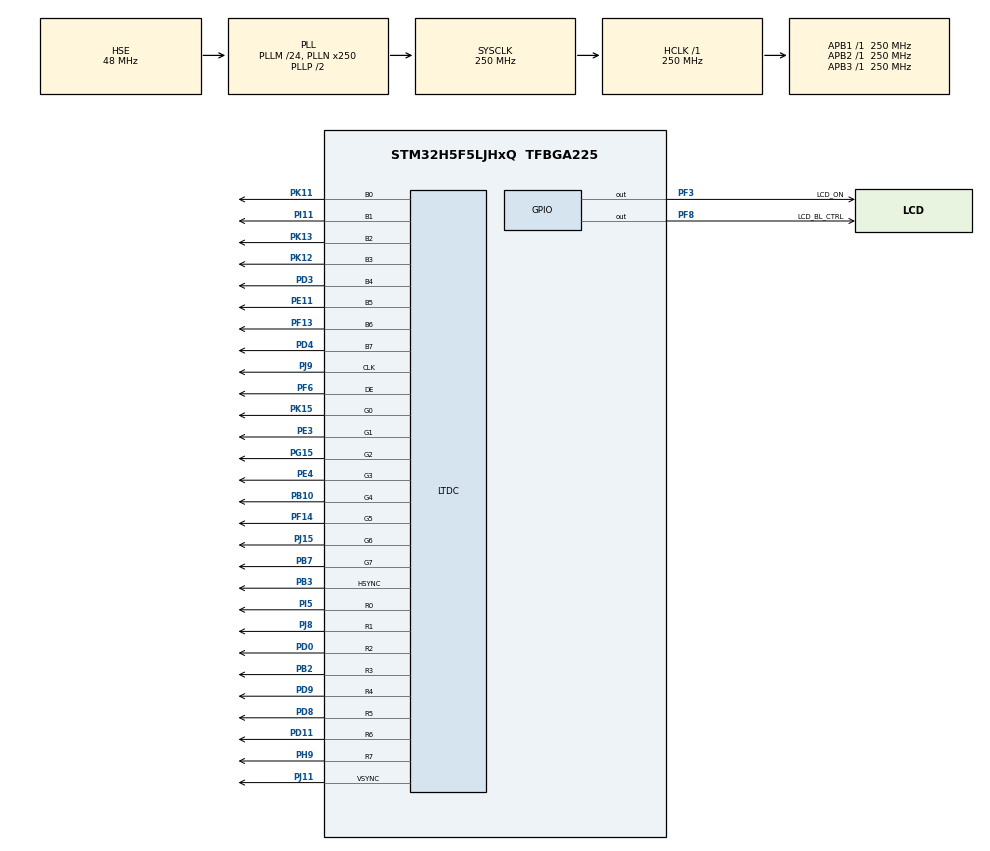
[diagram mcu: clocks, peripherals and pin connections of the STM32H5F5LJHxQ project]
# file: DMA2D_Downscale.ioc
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BOOTPATH.BootPathName=LEGACY
BOOTPATH.UserSelectedBootPath=LEGACY
CORTEX_M33_NS.userName=CORTEX_M33
DMA2D.AlphaModeBackground=DMA2D_REPLACE_ALPHA
DMA2D.AlphaModeForeground=DMA2D_REPLACE_ALPHA
DMA2D.ColorMode=DMA2D_OUTPUT_RGB888
DMA2D.InputAlphaBackground=128
DMA2D.InputAlphaForeground=128
DMA2D.InputColorModeBackground=DMA2D_INPUT_RGB888
DMA2D.InputColorModeForeground=DMA2D_INPUT_RGB888
DMA2D.LineOffsetMode=DMA2D_LOM_PIXELS
DMA2D.Mode=DMA2D_M2M_BLEND
LTDC.ActiveH=ST1633I_VSYNC + ST1633I_HEIGHT + ST1633I_VBP -1U
LTDC.ActiveW=ST1633I_HSYNC + ST1633I_WIDTH + ST1633I_HBP -1U
LTDC.Alpha_L0=255
LTDC.BlendingFactor1_L0=LTDC_BLENDING_FACTOR1_PAxCA
LTDC.BlendingFactor2_L0=LTDC_BLENDING_FACTOR2_PAxCA
LTDC.FBStartAdress_L0=LCD_FRAME_BUFFER
LTDC.HBP=ST1633I_HSYNC + ST1633I_HBP - 1U
LTDC.HFP=ST1633I_HSYNC + ST1633I_WIDTH + ST1633I_HBP + ST1633I_HFP - 1U
LTDC.HSync=ST1633I_HSYNC - 1U
LTDC.ImageHeight_L0=STLogo_height
LTDC.ImageWidth_L0=STLogo_width
LTDC.Layers=0
LTDC.PixelFormat_L0=LTDC_PIXEL_FORMAT_RGB888
LTDC.VBP=ST1633I_VSYNC + ST1633I_VBP - 1U
LTDC.VFP=ST1633I_VSYNC + ST1633I_HEIGHT + ST1633I_VBP + ST1633I_VFP - 1U
LTDC.VSync=ST1633I_VSYNC - 1U
LTDC.WindowX1_L0=ST1633I_WIDTH
LTDC.WindowY1_L0=ST1633I_HEIGHT
Mcu.Family=STM32H5
Mcu.Name=STM32H5F5LJHxQ
Mcu.Package=TFBGA225
Mcu.UserConstants=ST1633I_VBP,7;LCD_FRAME_BUFFER,0x20010000;ST1633I_HBP,43;ST1633I_VSYNC,4;ST1633I_VFP,8;ST1633I_HEIGHT,272;ST1633I_HFP,0;FRAME_BUFFER_SIZE,(STLogo_width*STLogo_height*STLogo_bpp)/32;ST1633I_HSYNC,4;ST1633I_WIDTH,480
NVIC.DMA2D_IRQn=true\:0\:0\:false\:false\:true\:true\:true\:true
NVIC.PriorityGroup=NVIC_PRIORITYGROUP_4
PB10.Mode=RGB888
PB10.Signal=LTDC_G4
PB2.Mode=RGB888
PB2.Signal=LTDC_R3
PB3\ (JTDO/TRACESWO).Mode=RGB888
PB3\ (JTDO/TRACESWO).Signal=LTDC_HSYNC
PB7.Mode=RGB888
PB7.Signal=LTDC_G7
PD0.Mode=RGB888
PD0.Signal=LTDC_R2
PD11.Mode=RGB888
PD11.Signal=LTDC_R6
PD3.Mode=RGB888
PD3.Signal=LTDC_B4
PD4.Mode=RGB888
PD4.Signal=LTDC_B7
PD8.Mode=RGB888
PD8.Signal=LTDC_R5
PD9.Mode=RGB888
PD9.Signal=LTDC_R4
PE11.Mode=RGB888
PE11.Signal=LTDC_B5
PE3.Mode=RGB888
PE3.Signal=LTDC_G1
PE4.Mode=RGB888
PE4.Signal=LTDC_G3
PF13.Mode=RGB888
PF13.Signal=LTDC_B6
PF14.Mode=RGB888
PF14.Signal=LTDC_G5
PF3.GPIO_Label=LCD_ON
PF3.PinState=GPIO_PIN_SET
PF3.Signal=GPIO_Output
PF6.Mode=RGB888
PF6.Signal=LTDC_DE
PF8.GPIO_Label=LCD_BL_CTRL
PF8.PinState=GPIO_PIN_SET
PF8.Signal=GPIO_Output
PG15.Mode=RGB888
PG15.Signal=LTDC_G2
PH0-OSC_IN(PH0).Mode=HSE-External-Oscillator
PH0-OSC_IN(PH0).Signal=RCC_OSC_IN
PH1-OSC_OUT(PH1).Mode=HSE-External-Oscillator
PH1-OSC_OUT(PH1).Signal=RCC_OSC_OUT
PH9.Mode=RGB888
PH9.Signal=LTDC_R7
PI11.Mode=RGB888
PI11.Signal=LTDC_B1
PI5.Mode=RGB888
PI5.Signal=LTDC_R0
PJ11.Mode=RGB888
PJ11.Signal=LTDC_VSYNC
PJ15.Mode=RGB888
PJ15.Signal=LTDC_G6
PJ8.Mode=RGB888
PJ8.Signal=LTDC_R1
PJ9.Mode=RGB888
PJ9.Signal=LTDC_CLK
PK11.Mode=RGB888
PK11.Signal=LTDC_B0
PK12.Mode=RGB888
PK12.Signal=LTDC_B3
PK13.Mode=RGB888
PK13.Signal=LTDC_B2
PK15.Mode=RGB888
PK15.Signal=LTDC_G0
ProjectManager.HeapSize=0x200
ProjectManager.StackSize=0x1000
ProjectManager.TargetToolchain=EWARM V9.20
RCC.ADCFreq_Value=250000000
RCC.AHBFreq_Value=250000000
RCC.APB1Freq_Value=250000000
RCC.APB1TimFreq_Value=250000000
RCC.APB2Freq_Value=250000000
RCC.APB2TimFreq_Value=250000000
RCC.APB3Freq_Value=250000000
RCC.CSI_VALUE=4000000
RCC.CortexFreq_Value=250000000
RCC.EPOD_VALUE=48000000
RCC.HCLKFreq_Value=250000000
RCC.HSE_VALUE=48000000
RCC.HSI48_VALUE=48000000
RCC.HSI_VALUE=64000000
RCC.LSE_VALUE=32768
RCC.LSIRC_VALUE=32000
RCC.PLL2FRACN=0
RCC.PLL2M=40
RCC.PLL2R=16
RCC.PLL2Source=RCC_PLL2_SOURCE_HSE
RCC.PLL3M=4
RCC.PLL3R=16
RCC.PLL3Source=RCC_PLL3_SOURCE_HSE
RCC.PLLFRACN=0
RCC.PLLM=24
RCC.PLLN=250
RCC.PLLSourceVirtual=RCC_PLL1_SOURCE_HSE
RCC.SYSCLKFreq_VALUE=250000000
RCC.SYSCLKSource=RCC_SYSCLKSOURCE_PLLCLK
RCC.USBFreq_Value=774000000
RCC.VCOOutputFreq_Value=500000000
VP_BOOTPATH_VS_BOOTPATH.Mode=BP_Activate
VP_CORTEX_M33_NS_VS_Hclk.Mode=Hclk_Mode
VP_DMA2D_VS_DMA2D.Mode=DMA2D_Activate
VP_ICACHE_VS_ICACHE.Mode=DefaultMode
VP_PWR_VS_LPOM.Mode=PowerOptimisation
VP_PWR_VS_SECSignals.Mode=Security/Privilege
board=custom

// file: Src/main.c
/* USER CODE BEGIN Header */
/**
  ******************************************************************************
  * @file           : main.c
  * @brief          : Main program body
  ******************************************************************************
  * @attention
  *
  * Copyright (c) 2025 STMicroelectronics.
  * All rights reserved.
  *
  * This software is licensed under terms that can be found in the LICENSE file
  * in the root directory of this software component.
  * If no LICENSE file comes with this software, it is provided AS-IS.
  *
  ******************************************************************************
  */
/* USER CODE END Header */
#include "main.h"

DMA2D_HandleTypeDef hdma2d;

LTDC_HandleTypeDef hltdc;

/* USER CODE BEGIN PV */
DMA2D_DownscalingCfgTypeDef Downscalingcfg;
static __IO uint32_t transferCompleteDetected = 0;

static const uint16_t gDownscaleProfiles[][4] =
{
  {1U, 1U, 1U, 1U},     /* Full-size image */
  {3U, 4U, 3U, 4U},     /* 75% width and 75% height */
  {1U, 2U, 1U, 2U},     /* 50% width and 50% height */
  {1U, 4U, 1U, 4U},     /* 25% width and 25% height */
  {1U, 1U, 4U, 5U},     /* Full width with 80% height */
  {3U, 4U, 1U, 1U},     /* 75% width with full height */
  {1U, 1U, 3U, 4U},     /* Full width with 75% height */
  {2U, 3U, 7U, 10U},    /* 66% width with 70% height */
  {13U, 17U, 13U, 17U}, /* Approximately 76% width and height */
  {13U, 17U, 5U, 8U},   /* Approximately 76% width with 62% height */
};

/* USER CODE END PV */

void SystemClock_Config(void);
static void MX_GPIO_Init(void);
static void MX_DMA2D_Init(void);
static void MX_ICACHE_Init(void);
static void MX_LTDC_Init(void);
/* USER CODE BEGIN PFP */
void TransferComplete(DMA2D_HandleTypeDef* dma2dHandle);
void PerformScaling(DMA2D_DownscalingCfgTypeDef *cfg);
/* USER CODE END PFP */

int main(void)
{

  /* MCU Configuration--------------------------------------------------------*/

  /* Reset of all peripherals, Initializes the Flash interface and the Systick. */
  HAL_Init();

  /* Configure the system clock */
  SystemClock_Config();

  /* USER CODE BEGIN SysInit */
  BSP_LED_Init(LED_RED);
  /* USER CODE END SysInit */

  /* Initialize all configured peripherals */
  MX_GPIO_Init();
  MX_DMA2D_Init();
  MX_ICACHE_Init();
  MX_LTDC_Init();
  /* USER CODE BEGIN 2 */

  /* DMA2D Callbacks Configuration*/
  hdma2d.XferCpltCallback  = TransferComplete;

  Downscalingcfg.PixelPerLines = 480;
  Downscalingcfg.NumberOfLines = 272;
  Downscalingcfg.HRatio        = 1;
  Downscalingcfg.VRatio        = 1;
  Downscalingcfg.HRatioDiv     = 1;
  Downscalingcfg.VRatioDiv     = 1;
  Downscalingcfg.VPhase        = 0;
  Downscalingcfg.HPhase        = 0;

  /* USER CODE END 2 */

  /* Infinite loop */
  while (1)
  {

    /* USER CODE BEGIN 3 */
    uint32_t i;

    /* Both horizontal and vertical scaling together */
    for (i = 0; i < (sizeof(gDownscaleProfiles) / sizeof(gDownscaleProfiles[0])); i++)
    {
      Downscalingcfg.HRatio = gDownscaleProfiles[i][0];
      Downscalingcfg.HRatioDiv = gDownscaleProfiles[i][1];
      Downscalingcfg.VRatio = gDownscaleProfiles[i][2];
      Downscalingcfg.VRatioDiv = gDownscaleProfiles[i][3];

      PerformScaling(&Downscalingcfg);
    }

    HAL_Delay(1000);
  }
  /* USER CODE END 3 */
}

void SystemClock_Config(void)
{
  RCC_OscInitTypeDef RCC_OscInitStruct = {0};
  RCC_ClkInitTypeDef RCC_ClkInitStruct = {0};

  /** Configure the main internal regulator output voltage
  */
  __HAL_PWR_VOLTAGESCALING_CONFIG(PWR_REGULATOR_VOLTAGE_SCALE0);

  while(!__HAL_PWR_GET_FLAG(PWR_FLAG_VOSRDY)) {}

  /** Initializes the RCC Oscillators according to the specified parameters
  * in the RCC_OscInitTypeDef structure.
  */
  RCC_OscInitStruct.OscillatorType = RCC_OSCILLATORTYPE_HSE;
  RCC_OscInitStruct.HSEState = RCC_HSE_ON;
  RCC_OscInitStruct.PLL.PLLState = RCC_PLL_ON;
  RCC_OscInitStruct.PLL.PLLSource = RCC_PLL1_SOURCE_HSE;
  RCC_OscInitStruct.PLL.PLLM = 24;
  RCC_OscInitStruct.PLL.PLLN = 250;
  RCC_OscInitStruct.PLL.PLLP = 2;
  RCC_OscInitStruct.PLL.PLLQ = 2;
  RCC_OscInitStruct.PLL.PLLR = 2;
  RCC_OscInitStruct.PLL.PLLRGE = RCC_PLL1_VCIRANGE_1;
  RCC_OscInitStruct.PLL.PLLVCOSEL = RCC_PLL1_VCORANGE_WIDE;
  RCC_OscInitStruct.PLL.PLLFRACN = 0;
  if (HAL_RCC_OscConfig(&RCC_OscInitStruct) != HAL_OK)
  {
    Error_Handler();
  }

  /** Initializes the CPU, AHB and APB buses clocks
  */
  RCC_ClkInitStruct.ClockType = RCC_CLOCKTYPE_HCLK|RCC_CLOCKTYPE_SYSCLK
                              |RCC_CLOCKTYPE_PCLK1|RCC_CLOCKTYPE_PCLK2
                              |RCC_CLOCKTYPE_PCLK3;
  RCC_ClkInitStruct.SYSCLKSource = RCC_SYSCLKSOURCE_PLLCLK;
  RCC_ClkInitStruct.AHBCLKDivider = RCC_SYSCLK_DIV1;
  RCC_ClkInitStruct.APB1CLKDivider = RCC_HCLK_DIV1;
  RCC_ClkInitStruct.APB2CLKDivider = RCC_HCLK_DIV1;
  RCC_ClkInitStruct.APB3CLKDivider = RCC_HCLK_DIV1;

  if (HAL_RCC_ClockConfig(&RCC_ClkInitStruct, FLASH_LATENCY_5) != HAL_OK)
  {
    Error_Handler();
  }

  /** Configure the programming delay
  */
  __HAL_FLASH_SET_PROGRAM_DELAY(FLASH_PROGRAMMING_DELAY_2);
}

static void MX_DMA2D_Init(void)
{

  hdma2d.Instance = DMA2D;
  hdma2d.Init.Mode = DMA2D_M2M_BLEND;
  hdma2d.Init.ColorMode = DMA2D_OUTPUT_RGB888;
  hdma2d.Init.OutputOffset = 0;
  hdma2d.Init.BytesSwap = DMA2D_BYTES_REGULAR;
  hdma2d.Init.LineOffsetMode = DMA2D_LOM_PIXELS;
  hdma2d.LayerCfg[1].InputOffset = 0;
  hdma2d.LayerCfg[1].InputColorMode = DMA2D_INPUT_RGB888;
  hdma2d.LayerCfg[1].AlphaMode = DMA2D_REPLACE_ALPHA;
  hdma2d.LayerCfg[1].InputAlpha = 128;
  hdma2d.LayerCfg[1].AlphaInverted = DMA2D_REGULAR_ALPHA;
  hdma2d.LayerCfg[1].RedBlueSwap = DMA2D_RB_REGULAR;
  hdma2d.LayerCfg[1].ChromaSubSampling = DMA2D_NO_CSS;
  hdma2d.LayerCfg[0].InputOffset = 0;
  hdma2d.LayerCfg[0].InputColorMode = DMA2D_INPUT_RGB888;
  hdma2d.LayerCfg[0].AlphaMode = DMA2D_REPLACE_ALPHA;
  hdma2d.LayerCfg[0].InputAlpha = 128;
  hdma2d.LayerCfg[0].AlphaInverted = DMA2D_REGULAR_ALPHA;
  hdma2d.LayerCfg[0].RedBlueSwap = DMA2D_RB_REGULAR;
  if (HAL_DMA2D_Init(&hdma2d) != HAL_OK)
  {
    Error_Handler();
  }
  if (HAL_DMA2D_ConfigLayer(&hdma2d, 0) != HAL_OK)
  {
    Error_Handler();
  }
  if (HAL_DMA2D_ConfigLayer(&hdma2d, 1) != HAL_OK)
  {
    Error_Handler();
  }

}

static void MX_ICACHE_Init(void)
{

  /** Enable instruction cache (default 2-ways set associative cache)
  */
  if (HAL_ICACHE_Enable() != HAL_OK)
  {
    Error_Handler();
  }

}

static void MX_LTDC_Init(void)
{

  LTDC_LayerCfgTypeDef pLayerCfg = {0};

  hltdc.Instance = LTDC;
  hltdc.Init.HSPolarity = LTDC_HSPOLARITY_AL;
  hltdc.Init.VSPolarity = LTDC_VSPOLARITY_AL;
  hltdc.Init.DEPolarity = LTDC_DEPOLARITY_AL;
  hltdc.Init.PCPolarity = LTDC_PCPOLARITY_IPC;
  hltdc.Init.HorizontalSync = ST1633I_HSYNC - 1U;
  hltdc.Init.VerticalSync = ST1633I_VSYNC - 1U;
  hltdc.Init.AccumulatedHBP = ST1633I_HSYNC + ST1633I_HBP - 1U;
  hltdc.Init.AccumulatedVBP = ST1633I_VSYNC + ST1633I_VBP - 1U;
  hltdc.Init.AccumulatedActiveW = ST1633I_HSYNC + ST1633I_WIDTH + ST1633I_HBP -1U;
  hltdc.Init.AccumulatedActiveH = ST1633I_VSYNC + ST1633I_HEIGHT + ST1633I_VBP -1U;
  hltdc.Init.TotalWidth = ST1633I_HSYNC + ST1633I_WIDTH + ST1633I_HBP + ST1633I_HFP - 1U;
  hltdc.Init.TotalHeigh = ST1633I_VSYNC + ST1633I_HEIGHT + ST1633I_VBP + ST1633I_VFP - 1U;
  hltdc.Init.Backcolor.Blue = 0;
  hltdc.Init.Backcolor.Green = 0;
  hltdc.Init.Backcolor.Red = 0;
  if (HAL_LTDC_Init(&hltdc) != HAL_OK)
  {
    Error_Handler();
  }
  pLayerCfg.WindowX0 = 0;
  pLayerCfg.WindowX1 = ST1633I_WIDTH;
  pLayerCfg.WindowY0 = 0;
  pLayerCfg.WindowY1 = ST1633I_HEIGHT;
  pLayerCfg.PixelFormat = LTDC_PIXEL_FORMAT_RGB888;
  pLayerCfg.Alpha = 255;
  pLayerCfg.Alpha0 = 0;
  pLayerCfg.BlendingFactor1 = LTDC_BLENDING_FACTOR1_PAxCA;
  pLayerCfg.BlendingFactor2 = LTDC_BLENDING_FACTOR2_PAxCA;
  pLayerCfg.FBStartAdress = LCD_FRAME_BUFFER;
  pLayerCfg.ImageWidth = STLogo_width;
  pLayerCfg.ImageHeight = STLogo_height;
  pLayerCfg.Backcolor.Blue = 0;
  pLayerCfg.Backcolor.Green = 0;
  pLayerCfg.Backcolor.Red = 0;
  if (HAL_LTDC_ConfigLayer(&hltdc, &pLayerCfg, 0) != HAL_OK)
  {
    Error_Handler();
  }

}

static void MX_GPIO_Init(void)
{
  GPIO_InitTypeDef GPIO_InitStruct = {0};

  /* GPIO Ports Clock Enable */
  __HAL_RCC_GPIOF_CLK_ENABLE();
  __HAL_RCC_GPIOH_CLK_ENABLE();

  /*Configure GPIO pin Output Level */
  HAL_GPIO_WritePin(GPIOF, LCD_BL_CTRL_Pin|LCD_ON_Pin, GPIO_PIN_SET);

  /*Configure GPIO pins : LCD_BL_CTRL_Pin LCD_ON_Pin */
  GPIO_InitStruct.Pin = LCD_BL_CTRL_Pin|LCD_ON_Pin;
  GPIO_InitStruct.Mode = GPIO_MODE_OUTPUT_PP;
  GPIO_InitStruct.Pull = GPIO_NOPULL;
  GPIO_InitStruct.Speed = GPIO_SPEED_FREQ_LOW;
  HAL_GPIO_Init(GPIOF, &GPIO_InitStruct);

}

/* USER CODE BEGIN 4 */
/**
  * @brief  DMA2D Transfer completed callback
  * @param  hdma2d: DMA2D handle.
  * @note   This example shows a simple way to report end of DMA2D transfer, and
  *         you can add your own implementation.
  * @retval None
  */
void TransferComplete(DMA2D_HandleTypeDef *hdma2d)
{
  __HAL_LTDC_ENABLE(&hltdc);
  transferCompleteDetected = 1;
}

void PerformScaling(DMA2D_DownscalingCfgTypeDef *cfg)
{
  uint32_t xpos, ypos;
  uint32_t scaledWidth;
  uint32_t scaledHeight;

  /* Ceiling division keeps display dimensions aligned with generated output. */
  scaledWidth = ((STLogo_width * cfg->HRatio) + cfg->HRatioDiv - 1U) / cfg->HRatioDiv;
  scaledHeight = ((STLogo_height * cfg->VRatio) + cfg->VRatioDiv - 1U) / cfg->VRatioDiv;

  /* DMA2D downscale is configured as a ratio: output = input * Ratio / RatioDiv. */
  HAL_DMA2D_ConfigDownscaling(&hdma2d, DMA2D_SOURCE_BLENDER_OUTPUT, cfg);

  xpos = (STLogo_width - scaledWidth) / 2;
  ypos = (STLogo_height - scaledHeight) / 2;

  /* Adjust the LTDC window to the final scaled image size and center it on screen. */
  HAL_LTDC_SetWindowSize(&hltdc, scaledWidth, scaledHeight, LTDC_LAYER_1);
  HAL_LTDC_SetWindowPosition(&hltdc, xpos, ypos, LTDC_LAYER_1);

  transferCompleteDetected = 0;
  if (HAL_DMA2D_BlendingStart_IT(&hdma2d, (uint32_t)STLogo, (uint32_t)LifeAugmented,
                                 LCD_FRAME_BUFFER, STLogo_width, STLogo_height) != HAL_OK)
  {
    Error_Handler();
  }

  while (transferCompleteDetected == 0)
  {
    /* wait for DMA2D transfer to complete */
  }

  HAL_Delay(1000);

  __HAL_LTDC_DISABLE(&hltdc);
}
/* USER CODE END 4 */

void Error_Handler(void)
{
  /* USER CODE BEGIN Error_Handler_Debug */
  /* User can add his own implementation to report the HAL error return state */
  while (1)
  {
    BSP_LED_On(LED_RED);
  }
  /* USER CODE END Error_Handler_Debug */
}
